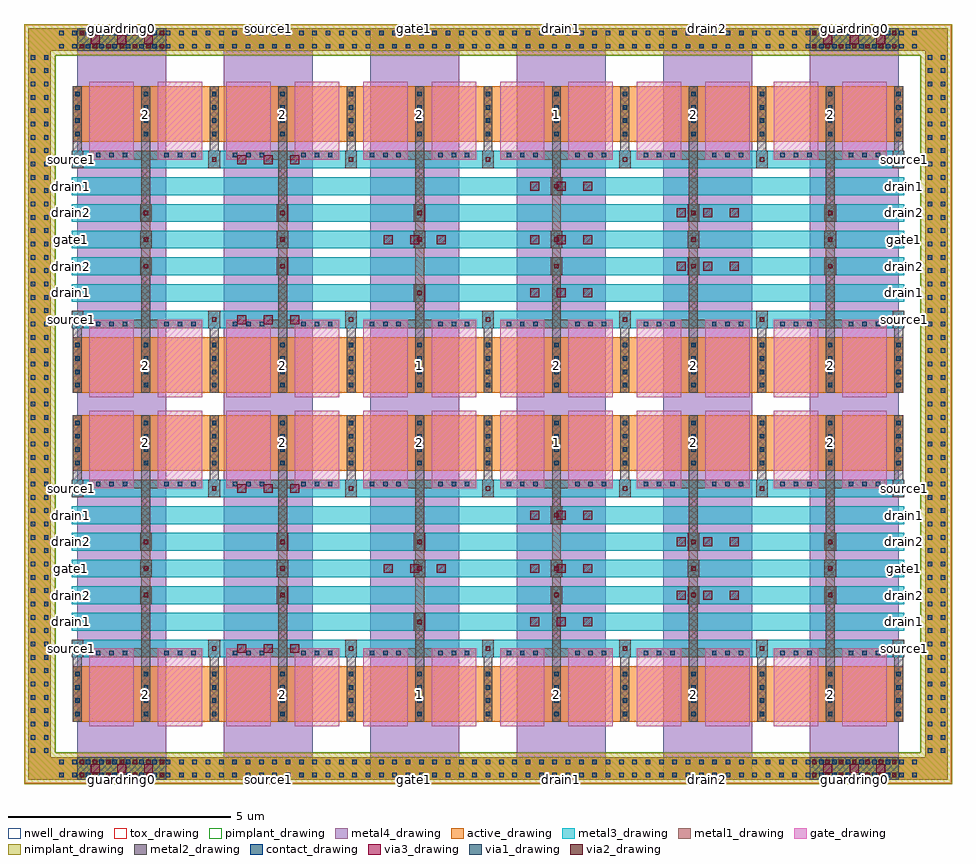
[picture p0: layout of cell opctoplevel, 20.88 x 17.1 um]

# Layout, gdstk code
import gdstk
lib = gdstk.Library(unit=1e-6, precision=1e-09)
def R(c, l, rs):  # rectangles x0, y0, x1, y1
    for r in rs: c.add(gdstk.rectangle(r[:2], r[2:], *l))
def A(c, l, x, y, w, h, nx, ny, dx, dy):  # array of equal rectangles
    R(c, l, [(x+i*dx, y+j*dy, x+i*dx+w, y+j*dy+h) for i in range(nx) for j in range(ny)])
active_drawing = (1, 0)
nwell_drawing = (3, 0)
pimplant_drawing = (4, 0)
nimplant_drawing = (5, 0)
gate_drawing = (6, 0)
contact_drawing = (7, 0)
metal1_drawing = (8, 0)
via1_drawing = (9, 0)
metal2_drawing = (10, 0)
via2_drawing = (11, 0)
metal3_drawing = (12, 0)
via3_drawing = (13, 0)
metal4_drawing = (14, 0)
tox_drawing = (32, 0)

opctoplevel = lib.new_cell('opctoplevel')
A(opctoplevel, active_drawing, -0.37, 0, 3.28, 1.25, 6, 2, 3.08, 5.65)
A(opctoplevel, active_drawing, -0.37, 7.4, 3.28, 1.25, 6, 2, 3.08, 5.65)
R(opctoplevel, active_drawing, [(-1.37,-1.3,19.31,-0.8), (-1.37,-1.3,-0.87,15.6), (18.81,-1.3,19.31,15.6), (-1.37,15.1,19.31,15.6)])
R(opctoplevel, nwell_drawing, [(-1.47,-1.4,19.41,15.7)])
R(opctoplevel, pimplant_drawing, [(-0.77,-0.7,18.71,15)])
R(opctoplevel, nimplant_drawing, [(-1.47,-1.4,19.41,-0.7), (-1.47,-1.4,-0.77,15.7), (18.71,-1.4,19.41,15.7), (-1.47,15,19.41,15.7)])
A(opctoplevel, gate_drawing, 0, -0.1, 1, 1.75, 12, 2, 1.54, 5.35)
A(opctoplevel, gate_drawing, 0, 7.3, 1, 1.75, 12, 2, 1.54, 5.35)
A(opctoplevel, contact_drawing, -0.68, -1.25, 0.1, 0.1, 65, 2, 0.3, 0.3)
A(opctoplevel, contact_drawing, -1.32, -0.7, 0.1, 0.1, 1, 53, 0, 0.3)
A(opctoplevel, contact_drawing, -1.02, -0.7, 0.1, 0.1, 1, 53, 0, 0.3)
A(opctoplevel, contact_drawing, 18.86, -0.7, 0.1, 0.1, 1, 53, 0, 0.3)
A(opctoplevel, contact_drawing, 19.16, -0.7, 0.1, 0.1, 1, 53, 0, 0.3)
A(opctoplevel, contact_drawing, -0.32, 0.125, 0.1, 0.1, 3, 4, 1.54, 0.3)
A(opctoplevel, contact_drawing, 2.76, 0.125, 0.1, 0.1, 3, 4, 1.54, 0.3)
A(opctoplevel, contact_drawing, 5.84, 0.125, 0.1, 0.1, 3, 4, 1.54, 0.3)
A(opctoplevel, contact_drawing, 8.92, 0.125, 0.1, 0.1, 3, 4, 1.54, 0.3)
A(opctoplevel, contact_drawing, 12, 0.125, 0.1, 0.1, 3, 4, 1.54, 0.3)
A(opctoplevel, contact_drawing, 15.08, 0.125, 0.1, 0.1, 3, 4, 1.54, 0.3)
A(opctoplevel, contact_drawing, 0.15, 1.5, 0.1, 0.1, 3, 2, 0.3, 3.8)
A(opctoplevel, contact_drawing, 1.69, 1.5, 0.1, 0.1, 3, 2, 0.3, 3.8)
A(opctoplevel, contact_drawing, 3.23, 1.5, 0.1, 0.1, 3, 2, 0.3, 3.8)
A(opctoplevel, contact_drawing, 4.77, 1.5, 0.1, 0.1, 3, 2, 0.3, 3.8)
A(opctoplevel, contact_drawing, 6.31, 1.5, 0.1, 0.1, 3, 2, 0.3, 3.8)
A(opctoplevel, contact_drawing, 7.85, 1.5, 0.1, 0.1, 3, 2, 0.3, 3.8)
A(opctoplevel, contact_drawing, 9.39, 1.5, 0.1, 0.1, 3, 2, 0.3, 3.8)
A(opctoplevel, contact_drawing, 10.93, 1.5, 0.1, 0.1, 3, 2, 0.3, 3.8)
A(opctoplevel, contact_drawing, 12.47, 1.5, 0.1, 0.1, 3, 2, 0.3, 3.8)
A(opctoplevel, contact_drawing, 14.01, 1.5, 0.1, 0.1, 3, 2, 0.3, 3.8)
A(opctoplevel, contact_drawing, 15.55, 1.5, 0.1, 0.1, 3, 2, 0.3, 3.8)
A(opctoplevel, contact_drawing, 17.09, 1.5, 0.1, 0.1, 3, 2, 0.3, 3.8)
A(opctoplevel, contact_drawing, -0.32, 5.775, 0.1, 0.1, 3, 4, 1.54, 0.3)
A(opctoplevel, contact_drawing, 2.76, 5.775, 0.1, 0.1, 3, 4, 1.54, 0.3)
A(opctoplevel, contact_drawing, 5.84, 5.775, 0.1, 0.1, 3, 4, 1.54, 0.3)
A(opctoplevel, contact_drawing, 8.92, 5.775, 0.1, 0.1, 3, 4, 1.54, 0.3)
A(opctoplevel, contact_drawing, 12, 5.775, 0.1, 0.1, 3, 4, 1.54, 0.3)
A(opctoplevel, contact_drawing, 15.08, 5.775, 0.1, 0.1, 3, 4, 1.54, 0.3)
A(opctoplevel, contact_drawing, -0.32, 7.525, 0.1, 0.1, 3, 4, 1.54, 0.3)
A(opctoplevel, contact_drawing, 2.76, 7.525, 0.1, 0.1, 3, 4, 1.54, 0.3)
A(opctoplevel, contact_drawing, 5.84, 7.525, 0.1, 0.1, 3, 4, 1.54, 0.3)
A(opctoplevel, contact_drawing, 8.92, 7.525, 0.1, 0.1, 3, 4, 1.54, 0.3)
A(opctoplevel, contact_drawing, 12, 7.525, 0.1, 0.1, 3, 4, 1.54, 0.3)
A(opctoplevel, contact_drawing, 15.08, 7.525, 0.1, 0.1, 3, 4, 1.54, 0.3)
A(opctoplevel, contact_drawing, 0.15, 8.9, 0.1, 0.1, 3, 2, 0.3, 3.8)
A(opctoplevel, contact_drawing, 1.69, 8.9, 0.1, 0.1, 3, 2, 0.3, 3.8)
A(opctoplevel, contact_drawing, 3.23, 8.9, 0.1, 0.1, 3, 2, 0.3, 3.8)
A(opctoplevel, contact_drawing, 4.77, 8.9, 0.1, 0.1, 3, 2, 0.3, 3.8)
A(opctoplevel, contact_drawing, 6.31, 8.9, 0.1, 0.1, 3, 2, 0.3, 3.8)
A(opctoplevel, contact_drawing, 7.85, 8.9, 0.1, 0.1, 3, 2, 0.3, 3.8)
A(opctoplevel, contact_drawing, 9.39, 8.9, 0.1, 0.1, 3, 2, 0.3, 3.8)
A(opctoplevel, contact_drawing, 10.93, 8.9, 0.1, 0.1, 3, 2, 0.3, 3.8)
A(opctoplevel, contact_drawing, 12.47, 8.9, 0.1, 0.1, 3, 2, 0.3, 3.8)
A(opctoplevel, contact_drawing, 14.01, 8.9, 0.1, 0.1, 3, 2, 0.3, 3.8)
A(opctoplevel, contact_drawing, 15.55, 8.9, 0.1, 0.1, 3, 2, 0.3, 3.8)
A(opctoplevel, contact_drawing, 17.09, 8.9, 0.1, 0.1, 3, 2, 0.3, 3.8)
A(opctoplevel, contact_drawing, -0.32, 13.175, 0.1, 0.1, 3, 4, 1.54, 0.3)
A(opctoplevel, contact_drawing, 2.76, 13.175, 0.1, 0.1, 3, 4, 1.54, 0.3)
A(opctoplevel, contact_drawing, 5.84, 13.175, 0.1, 0.1, 3, 4, 1.54, 0.3)
A(opctoplevel, contact_drawing, 8.92, 13.175, 0.1, 0.1, 3, 4, 1.54, 0.3)
A(opctoplevel, contact_drawing, 12, 13.175, 0.1, 0.1, 3, 4, 1.54, 0.3)
A(opctoplevel, contact_drawing, 15.08, 13.175, 0.1, 0.1, 3, 4, 1.54, 0.3)
A(opctoplevel, contact_drawing, -0.68, 15.15, 0.1, 0.1, 65, 2, 0.3, 0.3)
A(opctoplevel, metal1_drawing, -0.37, 0, 0.2, 1.25, 3, 2, 1.54, 5.65)
A(opctoplevel, metal1_drawing, 2.71, 0, 0.2, 1.25, 3, 2, 1.54, 5.65)
A(opctoplevel, metal1_drawing, 5.79, 0, 0.2, 1.25, 3, 2, 1.54, 5.65)
A(opctoplevel, metal1_drawing, 8.87, 0, 0.2, 1.25, 3, 2, 1.54, 5.65)
A(opctoplevel, metal1_drawing, 11.95, 0, 0.2, 1.25, 3, 2, 1.54, 5.65)
A(opctoplevel, metal1_drawing, 15.03, 0, 0.2, 1.25, 3, 2, 1.54, 5.65)
A(opctoplevel, metal1_drawing, 1.17, 1.65, 0.2, 1.6, 6, 2, 3.08, 2)
A(opctoplevel, metal1_drawing, -0.37, 7.4, 0.2, 1.25, 3, 2, 1.54, 5.65)
A(opctoplevel, metal1_drawing, 2.71, 7.4, 0.2, 1.25, 3, 2, 1.54, 5.65)
A(opctoplevel, metal1_drawing, 5.79, 7.4, 0.2, 1.25, 3, 2, 1.54, 5.65)
A(opctoplevel, metal1_drawing, 8.87, 7.4, 0.2, 1.25, 3, 2, 1.54, 5.65)
A(opctoplevel, metal1_drawing, 11.95, 7.4, 0.2, 1.25, 3, 2, 1.54, 5.65)
A(opctoplevel, metal1_drawing, 15.03, 7.4, 0.2, 1.25, 3, 2, 1.54, 5.65)
A(opctoplevel, metal1_drawing, 1.17, 9.05, 0.2, 1.6, 6, 2, 3.08, 2)
R(opctoplevel, metal1_drawing, [(-1.37,-1.3,19.31,-0.8), (-1.37,-1.3,-0.87,15.6), (-0.27,-1.3,1.73,-0.8), (16.21,-1.3,18.21,-0.8), (18.81,-1.3,19.31,15.6), (0,1.45,2.54,1.65), (0,1.45,2.54,1.65), (3.08,1.45,5.62,1.65), (3.08,1.45,5.62,1.65), (6.16,1.45,8.7,1.65), (6.16,1.45,8.7,1.65), (9.24,1.45,11.78,1.65), (9.24,1.45,11.78,1.65), (12.32,1.45,14.86,1.65), (12.32,1.45,14.86,1.65), (15.4,1.45,17.94,1.65), (15.4,1.45,17.94,1.65), (1.14,3.25,1.4,3.65), (1.14,3.25,1.4,3.65), (4.22,3.25,4.48,3.65), (4.22,3.25,4.48,3.65), (7.3,3.25,7.56,3.65), (7.3,3.25,7.56,3.65), (10.38,3.25,10.64,3.65), (10.38,3.25,10.64,3.65), (13.46,3.25,13.72,3.65), (13.46,3.25,13.72,3.65), (16.54,3.25,16.8,3.65), (16.54,3.25,16.8,3.65), (0,5.25,2.54,5.45), (0,5.25,2.54,5.45), (3.08,5.25,5.62,5.45), (3.08,5.25,5.62,5.45), (6.16,5.25,8.7,5.45), (6.16,5.25,8.7,5.45), (9.24,5.25,11.78,5.45), (9.24,5.25,11.78,5.45), (12.32,5.25,14.86,5.45), (12.32,5.25,14.86,5.45), (15.4,5.25,17.94,5.45), (15.4,5.25,17.94,5.45), (0,8.85,2.54,9.05), (0,8.85,2.54,9.05), (3.08,8.85,5.62,9.05), (3.08,8.85,5.62,9.05), (6.16,8.85,8.7,9.05), (6.16,8.85,8.7,9.05), (9.24,8.85,11.78,9.05), (9.24,8.85,11.78,9.05), (12.32,8.85,14.86,9.05), (12.32,8.85,14.86,9.05), (15.4,8.85,17.94,9.05), (15.4,8.85,17.94,9.05), (1.14,10.65,1.4,11.05), (1.14,10.65,1.4,11.05), (4.22,10.65,4.48,11.05), (4.22,10.65,4.48,11.05), (7.3,10.65,7.56,11.05), (7.3,10.65,7.56,11.05), (10.38,10.65,10.64,11.05), (10.38,10.65,10.64,11.05), (13.46,10.65,13.72,11.05), (13.46,10.65,13.72,11.05), (16.54,10.65,16.8,11.05), (16.54,10.65,16.8,11.05), (0,12.65,2.54,12.85), (0,12.65,2.54,12.85), (3.08,12.65,5.62,12.85), (3.08,12.65,5.62,12.85), (6.16,12.65,8.7,12.85), (6.16,12.65,8.7,12.85), (9.24,12.65,11.78,12.85), (9.24,12.65,11.78,12.85), (12.32,12.65,14.86,12.85), (12.32,12.65,14.86,12.85), (15.4,12.65,17.94,12.85), (15.4,12.65,17.94,12.85), (-1.37,15.1,19.31,15.6), (-0.27,15.1,1.73,15.6), (16.21,15.1,18.21,15.6)])
A(opctoplevel, via1_drawing, -0.22, -1.25, 0.1, 0.1, 7, 2, 0.3, 0.3)
A(opctoplevel, via1_drawing, 16.26, -1.25, 0.1, 0.1, 7, 2, 0.3, 0.3)
A(opctoplevel, via1_drawing, -0.32, 0.125, 0.1, 0.1, 3, 4, 1.54, 0.3)
A(opctoplevel, via1_drawing, 2.76, 0.125, 0.1, 0.1, 3, 4, 1.54, 0.3)
A(opctoplevel, via1_drawing, 5.84, 0.125, 0.1, 0.1, 3, 4, 1.54, 0.3)
A(opctoplevel, via1_drawing, 8.92, 0.125, 0.1, 0.1, 3, 4, 1.54, 0.3)
A(opctoplevel, via1_drawing, 12, 0.125, 0.1, 0.1, 3, 4, 1.54, 0.3)
A(opctoplevel, via1_drawing, 15.08, 0.125, 0.1, 0.1, 3, 4, 1.54, 0.3)
A(opctoplevel, via1_drawing, -0.32, 5.775, 0.1, 0.1, 3, 4, 1.54, 0.3)
A(opctoplevel, via1_drawing, 2.76, 5.775, 0.1, 0.1, 3, 4, 1.54, 0.3)
A(opctoplevel, via1_drawing, 5.84, 5.775, 0.1, 0.1, 3, 4, 1.54, 0.3)
A(opctoplevel, via1_drawing, 8.92, 5.775, 0.1, 0.1, 3, 4, 1.54, 0.3)
A(opctoplevel, via1_drawing, 12, 5.775, 0.1, 0.1, 3, 4, 1.54, 0.3)
A(opctoplevel, via1_drawing, 15.08, 5.775, 0.1, 0.1, 3, 4, 1.54, 0.3)
A(opctoplevel, via1_drawing, -0.32, 7.525, 0.1, 0.1, 3, 4, 1.54, 0.3)
A(opctoplevel, via1_drawing, 2.76, 7.525, 0.1, 0.1, 3, 4, 1.54, 0.3)
A(opctoplevel, via1_drawing, 5.84, 7.525, 0.1, 0.1, 3, 4, 1.54, 0.3)
A(opctoplevel, via1_drawing, 8.92, 7.525, 0.1, 0.1, 3, 4, 1.54, 0.3)
A(opctoplevel, via1_drawing, 12, 7.525, 0.1, 0.1, 3, 4, 1.54, 0.3)
A(opctoplevel, via1_drawing, 15.08, 7.525, 0.1, 0.1, 3, 4, 1.54, 0.3)
A(opctoplevel, via1_drawing, -0.32, 13.175, 0.1, 0.1, 3, 4, 1.54, 0.3)
A(opctoplevel, via1_drawing, 2.76, 13.175, 0.1, 0.1, 3, 4, 1.54, 0.3)
A(opctoplevel, via1_drawing, 5.84, 13.175, 0.1, 0.1, 3, 4, 1.54, 0.3)
A(opctoplevel, via1_drawing, 8.92, 13.175, 0.1, 0.1, 3, 4, 1.54, 0.3)
A(opctoplevel, via1_drawing, 12, 13.175, 0.1, 0.1, 3, 4, 1.54, 0.3)
A(opctoplevel, via1_drawing, 15.08, 13.175, 0.1, 0.1, 3, 4, 1.54, 0.3)
A(opctoplevel, via1_drawing, -0.22, 15.15, 0.1, 0.1, 7, 2, 0.3, 0.3)
A(opctoplevel, via1_drawing, 16.26, 15.15, 0.1, 0.1, 7, 2, 0.3, 0.3)
R(opctoplevel, via1_drawing, [(1.22,3.4,1.32,3.5), (1.22,3.4,1.32,3.5), (4.3,3.4,4.4,3.5), (4.3,3.4,4.4,3.5), (7.38,3.4,7.48,3.5), (7.38,3.4,7.48,3.5), (10.46,3.4,10.56,3.5), (10.46,3.4,10.56,3.5), (13.54,3.4,13.64,3.5), (13.54,3.4,13.64,3.5), (16.62,3.4,16.72,3.5), (16.62,3.4,16.72,3.5), (1.22,10.8,1.32,10.9), (1.22,10.8,1.32,10.9), (4.3,10.8,4.4,10.9), (4.3,10.8,4.4,10.9), (7.38,10.8,7.48,10.9), (7.38,10.8,7.48,10.9), (10.46,10.8,10.56,10.9), (10.46,10.8,10.56,10.9), (13.54,10.8,13.64,10.9), (13.54,10.8,13.64,10.9), (16.62,10.8,16.72,10.9), (16.62,10.8,16.72,10.9)])
A(opctoplevel, metal2_drawing, -0.37, 0, 0.2, 1.25, 3, 2, 1.54, 5.65)
A(opctoplevel, metal2_drawing, 2.71, 0, 0.2, 1.25, 3, 2, 1.54, 5.65)
A(opctoplevel, metal2_drawing, 5.79, 0, 0.2, 1.25, 3, 2, 1.54, 5.65)
A(opctoplevel, metal2_drawing, 8.87, 0, 0.2, 1.25, 3, 2, 1.54, 5.65)
A(opctoplevel, metal2_drawing, 11.95, 0, 0.2, 1.25, 3, 2, 1.54, 5.65)
A(opctoplevel, metal2_drawing, 15.03, 0, 0.2, 1.25, 3, 2, 1.54, 5.65)
A(opctoplevel, metal2_drawing, 10.41, 1.25, 0.2, 1.8, 3, 2, 3.08, 7.4)
A(opctoplevel, metal2_drawing, 10.38, 2.65, 0.26, 0.4, 3, 2, 3.08, 7.4)
A(opctoplevel, metal2_drawing, 1.14, 3.85, 0.26, 0.4, 3, 2, 3.08, 7.4)
A(opctoplevel, metal2_drawing, 1.17, 3.85, 0.2, 1.8, 3, 2, 3.08, 7.4)
A(opctoplevel, metal2_drawing, -0.37, 7.4, 0.2, 1.25, 3, 2, 1.54, 5.65)
A(opctoplevel, metal2_drawing, 2.71, 7.4, 0.2, 1.25, 3, 2, 1.54, 5.65)
A(opctoplevel, metal2_drawing, 5.79, 7.4, 0.2, 1.25, 3, 2, 1.54, 5.65)
A(opctoplevel, metal2_drawing, 8.87, 7.4, 0.2, 1.25, 3, 2, 1.54, 5.65)
A(opctoplevel, metal2_drawing, 11.95, 7.4, 0.2, 1.25, 3, 2, 1.54, 5.65)
A(opctoplevel, metal2_drawing, 15.03, 7.4, 0.2, 1.25, 3, 2, 1.54, 5.65)
R(opctoplevel, metal2_drawing, [(-0.27,-1.3,1.73,-0.8), (16.21,-1.3,18.21,-0.8), (-0.37,1.25,-0.17,1.85), (1.17,1.25,1.37,3.05), (2.71,1.25,2.91,1.85), (2.71,1.25,2.91,1.85), (4.25,1.25,4.45,3.05), (5.79,1.25,5.99,1.85), (5.79,1.25,5.99,1.85), (7.33,1.25,7.53,2.45), (8.87,1.25,9.07,1.85), (8.87,1.25,9.07,1.85), (11.95,1.25,12.15,1.85), (11.95,1.25,12.15,1.85), (15.03,1.25,15.23,1.85), (15.03,1.25,15.23,1.85), (18.11,1.25,18.31,1.85), (-0.4,1.45,-0.14,1.85), (2.68,1.45,2.94,1.85), (2.68,1.45,2.94,1.85), (5.76,1.45,6.02,1.85), (5.76,1.45,6.02,1.85), (8.84,1.45,9.1,1.85), (8.84,1.45,9.1,1.85), (11.92,1.45,12.18,1.85), (11.92,1.45,12.18,1.85), (15,1.45,15.26,1.85), (15,1.45,15.26,1.85), (18.08,1.45,18.34,1.85), (7.3,2.05,7.56,2.45), (1.14,2.65,1.4,3.05), (4.22,2.65,4.48,3.05), (1.14,3.25,1.4,3.65), (1.14,3.25,1.4,3.65), (4.22,3.25,4.48,3.65), (4.22,3.25,4.48,3.65), (7.3,3.25,7.56,3.65), (7.3,3.25,7.56,3.65), (10.38,3.25,10.64,3.65), (10.38,3.25,10.64,3.65), (13.46,3.25,13.72,3.65), (13.46,3.25,13.72,3.65), (16.54,3.25,16.8,3.65), (16.54,3.25,16.8,3.65), (13.46,3.85,13.72,4.25), (13.49,3.85,13.69,5.65), (16.54,3.85,16.8,4.25), (16.57,3.85,16.77,5.65), (10.38,4.45,10.64,4.85), (10.41,4.45,10.61,5.65), (-0.4,5.05,-0.14,5.45), (-0.37,5.05,-0.17,5.65), (2.68,5.05,2.94,5.45), (2.68,5.05,2.94,5.45), (2.71,5.05,2.91,5.65), (2.71,5.05,2.91,5.65), (5.76,5.05,6.02,5.45), (5.76,5.05,6.02,5.45), (5.79,5.05,5.99,5.65), (5.79,5.05,5.99,5.65), (8.84,5.05,9.1,5.45), (8.84,5.05,9.1,5.45), (8.87,5.05,9.07,5.65), (8.87,5.05,9.07,5.65), (11.92,5.05,12.18,5.45), (11.92,5.05,12.18,5.45), (11.95,5.05,12.15,5.65), (11.95,5.05,12.15,5.65), (15,5.05,15.26,5.45), (15,5.05,15.26,5.45), (15.03,5.05,15.23,5.65), (15.03,5.05,15.23,5.65), (18.08,5.05,18.34,5.45), (18.11,5.05,18.31,5.65), (-0.37,8.65,-0.17,9.25), (1.17,8.65,1.37,10.45), (2.71,8.65,2.91,9.25), (2.71,8.65,2.91,9.25), (4.25,8.65,4.45,10.45), (5.79,8.65,5.99,9.25), (5.79,8.65,5.99,9.25), (7.33,8.65,7.53,9.85), (8.87,8.65,9.07,9.25), (8.87,8.65,9.07,9.25), (11.95,8.65,12.15,9.25), (11.95,8.65,12.15,9.25), (15.03,8.65,15.23,9.25), (15.03,8.65,15.23,9.25), (18.11,8.65,18.31,9.25), (-0.4,8.85,-0.14,9.25), (2.68,8.85,2.94,9.25), (2.68,8.85,2.94,9.25), (5.76,8.85,6.02,9.25), (5.76,8.85,6.02,9.25), (8.84,8.85,9.1,9.25), (8.84,8.85,9.1,9.25), (11.92,8.85,12.18,9.25), (11.92,8.85,12.18,9.25), (15,8.85,15.26,9.25), (15,8.85,15.26,9.25), (18.08,8.85,18.34,9.25), (7.3,9.45,7.56,9.85), (1.14,10.05,1.4,10.45), (4.22,10.05,4.48,10.45), (1.14,10.65,1.4,11.05), (1.14,10.65,1.4,11.05), (4.22,10.65,4.48,11.05), (4.22,10.65,4.48,11.05), (7.3,10.65,7.56,11.05), (7.3,10.65,7.56,11.05), (10.38,10.65,10.64,11.05), (10.38,10.65,10.64,11.05), (13.46,10.65,13.72,11.05), (13.46,10.65,13.72,11.05), (16.54,10.65,16.8,11.05), (16.54,10.65,16.8,11.05), (13.46,11.25,13.72,11.65), (13.49,11.25,13.69,13.05), (16.54,11.25,16.8,11.65), (16.57,11.25,16.77,13.05), (10.38,11.85,10.64,12.25), (10.41,11.85,10.61,13.05), (-0.4,12.45,-0.14,12.85), (-0.37,12.45,-0.17,13.05), (2.68,12.45,2.94,12.85), (2.68,12.45,2.94,12.85), (2.71,12.45,2.91,13.05), (2.71,12.45,2.91,13.05), (5.76,12.45,6.02,12.85), (5.76,12.45,6.02,12.85), (5.79,12.45,5.99,13.05), (5.79,12.45,5.99,13.05), (8.84,12.45,9.1,12.85), (8.84,12.45,9.1,12.85), (8.87,12.45,9.07,13.05), (8.87,12.45,9.07,13.05), (11.92,12.45,12.18,12.85), (11.92,12.45,12.18,12.85), (11.95,12.45,12.15,13.05), (11.95,12.45,12.15,13.05), (15,12.45,15.26,12.85), (15,12.45,15.26,12.85), (15.03,12.45,15.23,13.05), (15.03,12.45,15.23,13.05), (18.08,12.45,18.34,12.85), (18.11,12.45,18.31,13.05), (-0.27,15.1,1.73,15.6), (16.21,15.1,18.21,15.6)])
A(opctoplevel, via2_drawing, -0.22, -1.25, 0.1, 0.1, 7, 2, 0.3, 0.3)
A(opctoplevel, via2_drawing, 16.26, -1.25, 0.1, 0.1, 7, 2, 0.3, 0.3)
A(opctoplevel, via2_drawing, 10.46, 2.8, 0.1, 0.1, 3, 2, 3.08, 7.4)
A(opctoplevel, via2_drawing, 1.22, 4, 0.1, 0.1, 3, 2, 3.08, 7.4)
A(opctoplevel, via2_drawing, -0.22, 15.15, 0.1, 0.1, 7, 2, 0.3, 0.3)
A(opctoplevel, via2_drawing, 16.26, 15.15, 0.1, 0.1, 7, 2, 0.3, 0.3)
R(opctoplevel, via2_drawing, [(-0.32,1.6,-0.22,1.7), (2.76,1.6,2.86,1.7), (2.76,1.6,2.86,1.7), (5.84,1.6,5.94,1.7), (5.84,1.6,5.94,1.7), (8.92,1.6,9.02,1.7), (8.92,1.6,9.02,1.7), (12,1.6,12.1,1.7), (12,1.6,12.1,1.7), (15.08,1.6,15.18,1.7), (15.08,1.6,15.18,1.7), (18.16,1.6,18.26,1.7), (7.38,2.2,7.48,2.3), (1.22,2.8,1.32,2.9), (4.3,2.8,4.4,2.9), (1.22,3.4,1.32,3.5), (1.22,3.4,1.32,3.5), (4.3,3.4,4.4,3.5), (4.3,3.4,4.4,3.5), (7.38,3.4,7.48,3.5), (7.38,3.4,7.48,3.5), (10.46,3.4,10.56,3.5), (10.46,3.4,10.56,3.5), (13.54,3.4,13.64,3.5), (13.54,3.4,13.64,3.5), (16.62,3.4,16.72,3.5), (16.62,3.4,16.72,3.5), (13.54,4,13.64,4.1), (16.62,4,16.72,4.1), (10.46,4.6,10.56,4.7), (-0.32,5.2,-0.22,5.3), (2.76,5.2,2.86,5.3), (2.76,5.2,2.86,5.3), (5.84,5.2,5.94,5.3), (5.84,5.2,5.94,5.3), (8.92,5.2,9.02,5.3), (8.92,5.2,9.02,5.3), (12,5.2,12.1,5.3), (12,5.2,12.1,5.3), (15.08,5.2,15.18,5.3), (15.08,5.2,15.18,5.3), (18.16,5.2,18.26,5.3), (-0.32,9,-0.22,9.1), (2.76,9,2.86,9.1), (2.76,9,2.86,9.1), (5.84,9,5.94,9.1), (5.84,9,5.94,9.1), (8.92,9,9.02,9.1), (8.92,9,9.02,9.1), (12,9,12.1,9.1), (12,9,12.1,9.1), (15.08,9,15.18,9.1), (15.08,9,15.18,9.1), (18.16,9,18.26,9.1), (7.38,9.6,7.48,9.7), (1.22,10.2,1.32,10.3), (4.3,10.2,4.4,10.3), (1.22,10.8,1.32,10.9), (1.22,10.8,1.32,10.9), (4.3,10.8,4.4,10.9), (4.3,10.8,4.4,10.9), (7.38,10.8,7.48,10.9), (7.38,10.8,7.48,10.9), (10.46,10.8,10.56,10.9), (10.46,10.8,10.56,10.9), (13.54,10.8,13.64,10.9), (13.54,10.8,13.64,10.9), (16.62,10.8,16.72,10.9), (16.62,10.8,16.72,10.9), (13.54,11.4,13.64,11.5), (16.62,11.4,16.72,11.5), (10.46,12,10.56,12.1), (-0.32,12.6,-0.22,12.7), (2.76,12.6,2.86,12.7), (2.76,12.6,2.86,12.7), (5.84,12.6,5.94,12.7), (5.84,12.6,5.94,12.7), (8.92,12.6,9.02,12.7), (8.92,12.6,9.02,12.7), (12,12.6,12.1,12.7), (12,12.6,12.1,12.7), (15.08,12.6,15.18,12.7), (15.08,12.6,15.18,12.7), (18.16,12.6,18.26,12.7)])
A(opctoplevel, metal3_drawing, -0.4, 1.45, 18.74, 0.4, 1, 7, 0, 0.6)
A(opctoplevel, metal3_drawing, 10.38, 2.65, 0.26, 0.4, 3, 2, 3.08, 7.4)
A(opctoplevel, metal3_drawing, 1.14, 3.85, 0.26, 0.4, 3, 2, 3.08, 7.4)
A(opctoplevel, metal3_drawing, -0.4, 8.85, 18.74, 0.4, 1, 7, 0, 0.6)
R(opctoplevel, metal3_drawing, [(-0.27,-1.3,1.73,-0.8), (16.21,-1.3,18.21,-0.8), (-0.4,1.45,-0.14,1.85), (2.68,1.45,2.94,1.85), (2.68,1.45,2.94,1.85), (5.76,1.45,6.02,1.85), (5.76,1.45,6.02,1.85), (8.84,1.45,9.1,1.85), (8.84,1.45,9.1,1.85), (11.92,1.45,12.18,1.85), (11.92,1.45,12.18,1.85), (15,1.45,15.26,1.85), (15,1.45,15.26,1.85), (18.08,1.45,18.34,1.85), (7.3,2.05,7.56,2.45), (1.14,2.65,1.4,3.05), (4.22,2.65,4.48,3.05), (1.14,3.25,1.4,3.65), (1.14,3.25,1.4,3.65), (4.22,3.25,4.48,3.65), (4.22,3.25,4.48,3.65), (7.3,3.25,7.56,3.65), (7.3,3.25,7.56,3.65), (10.38,3.25,10.64,3.65), (10.38,3.25,10.64,3.65), (13.46,3.25,13.72,3.65), (13.46,3.25,13.72,3.65), (16.54,3.25,16.8,3.65), (16.54,3.25,16.8,3.65), (13.46,3.85,13.72,4.25), (16.54,3.85,16.8,4.25), (10.38,4.45,10.64,4.85), (-0.4,5.05,-0.14,5.45), (2.68,5.05,2.94,5.45), (2.68,5.05,2.94,5.45), (5.76,5.05,6.02,5.45), (5.76,5.05,6.02,5.45), (8.84,5.05,9.1,5.45), (8.84,5.05,9.1,5.45), (11.92,5.05,12.18,5.45), (11.92,5.05,12.18,5.45), (15,5.05,15.26,5.45), (15,5.05,15.26,5.45), (18.08,5.05,18.34,5.45), (-0.4,8.85,-0.14,9.25), (2.68,8.85,2.94,9.25), (2.68,8.85,2.94,9.25), (5.76,8.85,6.02,9.25), (5.76,8.85,6.02,9.25), (8.84,8.85,9.1,9.25), (8.84,8.85,9.1,9.25), (11.92,8.85,12.18,9.25), (11.92,8.85,12.18,9.25), (15,8.85,15.26,9.25), (15,8.85,15.26,9.25), (18.08,8.85,18.34,9.25), (7.3,9.45,7.56,9.85), (1.14,10.05,1.4,10.45), (4.22,10.05,4.48,10.45), (1.14,10.65,1.4,11.05), (1.14,10.65,1.4,11.05), (4.22,10.65,4.48,11.05), (4.22,10.65,4.48,11.05), (7.3,10.65,7.56,11.05), (7.3,10.65,7.56,11.05), (10.38,10.65,10.64,11.05), (10.38,10.65,10.64,11.05), (13.46,10.65,13.72,11.05), (13.46,10.65,13.72,11.05), (16.54,10.65,16.8,11.05), (16.54,10.65,16.8,11.05), (13.46,11.25,13.72,11.65), (16.54,11.25,16.8,11.65), (10.38,11.85,10.64,12.25), (-0.4,12.45,-0.14,12.85), (2.68,12.45,2.94,12.85), (2.68,12.45,2.94,12.85), (5.76,12.45,6.02,12.85), (5.76,12.45,6.02,12.85), (8.84,12.45,9.1,12.85), (8.84,12.45,9.1,12.85), (11.92,12.45,12.18,12.85), (11.92,12.45,12.18,12.85), (15,12.45,15.26,12.85), (15,12.45,15.26,12.85), (18.08,12.45,18.34,12.85), (-0.27,15.1,1.73,15.6), (16.21,15.1,18.21,15.6)])
A(opctoplevel, via3_drawing, 0.03, -1.15, 0.2, 0.2, 3, 2, 0.6, 16.4)
A(opctoplevel, via3_drawing, 16.51, -1.15, 0.2, 0.2, 3, 2, 0.6, 16.4)
A(opctoplevel, via3_drawing, 3.326, 1.55, 0.2, 0.2, 3, 2, 0.6, 3.6)
A(opctoplevel, via3_drawing, 9.918, 2.15, 0.2, 0.2, 3, 2, 0.6, 2.4)
A(opctoplevel, via3_drawing, 13.214, 2.75, 0.2, 0.2, 3, 2, 0.6, 1.2)
A(opctoplevel, via3_drawing, 3.326, 8.95, 0.2, 0.2, 3, 2, 0.6, 3.6)
A(opctoplevel, via3_drawing, 9.918, 9.55, 0.2, 0.2, 3, 2, 0.6, 2.4)
A(opctoplevel, via3_drawing, 13.214, 10.15, 0.2, 0.2, 3, 2, 0.6, 1.2)
R(opctoplevel, via3_drawing, [(6.622,3.35,6.822,3.55), (6.622,3.35,6.822,3.55), (7.222,3.35,7.422,3.55), (7.222,3.35,7.422,3.55), (7.822,3.35,8.022,3.55), (7.822,3.35,8.022,3.55), (9.918,3.35,10.118,3.55), (9.918,3.35,10.118,3.55), (9.918,3.35,10.118,3.55), (9.918,3.35,10.118,3.55), (9.918,3.35,10.118,3.55), (9.918,3.35,10.118,3.55), (9.918,3.35,10.118,3.55), (9.918,3.35,10.118,3.55), (9.918,3.35,10.118,3.55), (9.918,3.35,10.118,3.55), (9.918,3.35,10.118,3.55), (9.918,3.35,10.118,3.55), (10.518,3.35,10.718,3.55), (10.518,3.35,10.718,3.55), (10.518,3.35,10.718,3.55), (10.518,3.35,10.718,3.55), (10.518,3.35,10.718,3.55), (10.518,3.35,10.718,3.55), (10.518,3.35,10.718,3.55), (10.518,3.35,10.718,3.55), (10.518,3.35,10.718,3.55), (10.518,3.35,10.718,3.55), (10.518,3.35,10.718,3.55), (10.518,3.35,10.718,3.55), (11.118,3.35,11.318,3.55), (11.118,3.35,11.318,3.55), (11.118,3.35,11.318,3.55), (11.118,3.35,11.318,3.55), (11.118,3.35,11.318,3.55), (11.118,3.35,11.318,3.55), (11.118,3.35,11.318,3.55), (11.118,3.35,11.318,3.55), (11.118,3.35,11.318,3.55), (11.118,3.35,11.318,3.55), (11.118,3.35,11.318,3.55), (11.118,3.35,11.318,3.55), (6.622,10.75,6.822,10.95), (6.622,10.75,6.822,10.95), (7.222,10.75,7.422,10.95), (7.222,10.75,7.422,10.95), (7.822,10.75,8.022,10.95), (7.822,10.75,8.022,10.95), (9.918,10.75,10.118,10.95), (9.918,10.75,10.118,10.95), (9.918,10.75,10.118,10.95), (9.918,10.75,10.118,10.95), (9.918,10.75,10.118,10.95), (9.918,10.75,10.118,10.95), (9.918,10.75,10.118,10.95), (9.918,10.75,10.118,10.95), (9.918,10.75,10.118,10.95), (9.918,10.75,10.118,10.95), (9.918,10.75,10.118,10.95), (9.918,10.75,10.118,10.95), (10.518,10.75,10.718,10.95), (10.518,10.75,10.718,10.95), (10.518,10.75,10.718,10.95), (10.518,10.75,10.718,10.95), (10.518,10.75,10.718,10.95), (10.518,10.75,10.718,10.95), (10.518,10.75,10.718,10.95), (10.518,10.75,10.718,10.95), (10.518,10.75,10.718,10.95), (10.518,10.75,10.718,10.95), (10.518,10.75,10.718,10.95), (10.518,10.75,10.718,10.95), (11.118,10.75,11.318,10.95), (11.118,10.75,11.318,10.95), (11.118,10.75,11.318,10.95), (11.118,10.75,11.318,10.95), (11.118,10.75,11.318,10.95), (11.118,10.75,11.318,10.95), (11.118,10.75,11.318,10.95), (11.118,10.75,11.318,10.95), (11.118,10.75,11.318,10.95), (11.118,10.75,11.318,10.95), (11.118,10.75,11.318,10.95), (11.118,10.75,11.318,10.95)])
A(opctoplevel, metal4_drawing, -0.27, -1.3, 2, 16.9, 6, 1, 3.296, 0)
R(opctoplevel, metal4_drawing, [(-0.27,-1.3,1.73,-0.8), (16.21,-1.3,18.21,-0.8), (-0.27,15.1,1.73,15.6), (16.21,15.1,18.21,15.6)])
R(opctoplevel, tox_drawing, [(-1.45,-1.38,19.39,15.68)])
opctoplevel.add(gdstk.Label('2', (1.27,0.625), layer=234, texttype=0))
opctoplevel.add(gdstk.Label('2', (4.35,0.625), layer=234, texttype=0))
opctoplevel.add(gdstk.Label('1', (7.43,0.625), layer=234, texttype=0))
opctoplevel.add(gdstk.Label('2', (10.51,0.625), layer=234, texttype=0))
opctoplevel.add(gdstk.Label('2', (13.59,0.625), layer=234, texttype=0))
opctoplevel.add(gdstk.Label('2', (16.67,0.625), layer=234, texttype=0))
opctoplevel.add(gdstk.Label('2', (1.27,6.275), layer=234, texttype=0))
opctoplevel.add(gdstk.Label('2', (4.35,6.275), layer=234, texttype=0))
opctoplevel.add(gdstk.Label('2', (7.43,6.275), layer=234, texttype=0))
opctoplevel.add(gdstk.Label('1', (10.51,6.275), layer=234, texttype=0))
opctoplevel.add(gdstk.Label('2', (13.59,6.275), layer=234, texttype=0))
opctoplevel.add(gdstk.Label('2', (16.67,6.275), layer=234, texttype=0))
opctoplevel.add(gdstk.Label('2', (1.27,8.025), layer=234, texttype=0))
opctoplevel.add(gdstk.Label('2', (4.35,8.025), layer=234, texttype=0))
opctoplevel.add(gdstk.Label('1', (7.43,8.025), layer=234, texttype=0))
opctoplevel.add(gdstk.Label('2', (10.51,8.025), layer=234, texttype=0))
opctoplevel.add(gdstk.Label('2', (13.59,8.025), layer=234, texttype=0))
opctoplevel.add(gdstk.Label('2', (16.67,8.025), layer=234, texttype=0))
opctoplevel.add(gdstk.Label('2', (1.27,13.675), layer=234, texttype=0))
opctoplevel.add(gdstk.Label('2', (4.35,13.675), layer=234, texttype=0))
opctoplevel.add(gdstk.Label('2', (7.43,13.675), layer=234, texttype=0))
opctoplevel.add(gdstk.Label('1', (10.51,13.675), layer=234, texttype=0))
opctoplevel.add(gdstk.Label('2', (13.59,13.675), layer=234, texttype=0))
opctoplevel.add(gdstk.Label('2', (16.67,13.675), layer=234, texttype=0))
opctoplevel.add(gdstk.Label('gate1', (-0.4,3.45), layer=12, texttype=0))
opctoplevel.add(gdstk.Label('gate1', (18.34,3.45), layer=12, texttype=0))
opctoplevel.add(gdstk.Label('gate1', (-0.4,10.85), layer=12, texttype=0))
opctoplevel.add(gdstk.Label('gate1', (18.34,10.85), layer=12, texttype=0))
opctoplevel.add(gdstk.Label('source1', (-0.4,1.65), layer=12, texttype=0))
opctoplevel.add(gdstk.Label('source1', (18.34,1.65), layer=12, texttype=0))
opctoplevel.add(gdstk.Label('drain1', (-0.4,2.25), layer=12, texttype=0))
opctoplevel.add(gdstk.Label('drain1', (18.34,2.25), layer=12, texttype=0))
opctoplevel.add(gdstk.Label('drain2', (-0.4,2.85), layer=12, texttype=0))
opctoplevel.add(gdstk.Label('drain2', (18.34,2.85), layer=12, texttype=0))
opctoplevel.add(gdstk.Label('source1', (-0.4,5.25), layer=12, texttype=0))
opctoplevel.add(gdstk.Label('source1', (18.34,5.25), layer=12, texttype=0))
opctoplevel.add(gdstk.Label('drain1', (-0.4,4.65), layer=12, texttype=0))
opctoplevel.add(gdstk.Label('drain1', (18.34,4.65), layer=12, texttype=0))
opctoplevel.add(gdstk.Label('drain2', (-0.4,4.05), layer=12, texttype=0))
opctoplevel.add(gdstk.Label('drain2', (18.34,4.05), layer=12, texttype=0))
opctoplevel.add(gdstk.Label('source1', (-0.4,9.05), layer=12, texttype=0))
opctoplevel.add(gdstk.Label('source1', (18.34,9.05), layer=12, texttype=0))
opctoplevel.add(gdstk.Label('drain1', (-0.4,9.65), layer=12, texttype=0))
opctoplevel.add(gdstk.Label('drain1', (18.34,9.65), layer=12, texttype=0))
opctoplevel.add(gdstk.Label('drain2', (-0.4,10.25), layer=12, texttype=0))
opctoplevel.add(gdstk.Label('drain2', (18.34,10.25), layer=12, texttype=0))
opctoplevel.add(gdstk.Label('source1', (-0.4,12.65), layer=12, texttype=0))
opctoplevel.add(gdstk.Label('source1', (18.34,12.65), layer=12, texttype=0))
opctoplevel.add(gdstk.Label('drain1', (-0.4,12.05), layer=12, texttype=0))
opctoplevel.add(gdstk.Label('drain1', (18.34,12.05), layer=12, texttype=0))
opctoplevel.add(gdstk.Label('drain2', (-0.4,11.45), layer=12, texttype=0))
opctoplevel.add(gdstk.Label('drain2', (18.34,11.45), layer=12, texttype=0))
opctoplevel.add(gdstk.Label('guardring0', (0.73,-1.3), layer=14, texttype=0))
opctoplevel.add(gdstk.Label('guardring0', (0.73,15.6), layer=14, texttype=0))
opctoplevel.add(gdstk.Label('source1', (4.026,-1.3), layer=14, texttype=0))
opctoplevel.add(gdstk.Label('source1', (4.026,15.6), layer=14, texttype=0))
opctoplevel.add(gdstk.Label('gate1', (7.322,-1.3), layer=14, texttype=0))
opctoplevel.add(gdstk.Label('gate1', (7.322,15.6), layer=14, texttype=0))
opctoplevel.add(gdstk.Label('drain1', (10.618,-1.3), layer=14, texttype=0))
opctoplevel.add(gdstk.Label('drain1', (10.618,15.6), layer=14, texttype=0))
opctoplevel.add(gdstk.Label('drain2', (13.914,-1.3), layer=14, texttype=0))
opctoplevel.add(gdstk.Label('drain2', (13.914,15.6), layer=14, texttype=0))
opctoplevel.add(gdstk.Label('guardring0', (17.21,-1.3), layer=14, texttype=0))
opctoplevel.add(gdstk.Label('guardring0', (17.21,15.6), layer=14, texttype=0))

lib.write_gds('opctoplevel.gds')
